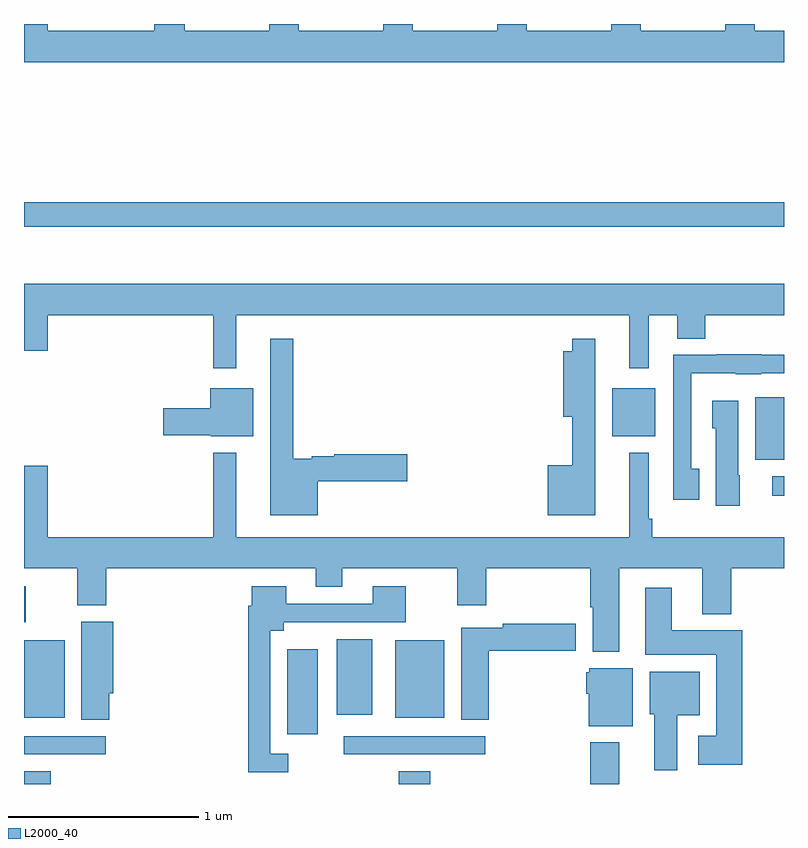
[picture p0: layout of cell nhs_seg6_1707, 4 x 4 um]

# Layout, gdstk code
import gdstk
lib = gdstk.Library(unit=1e-6, precision=1e-09)
def R(c, l, rs):  # rectangles x0, y0, x1, y1
    for r in rs: c.add(gdstk.rectangle(r[:2], r[2:], *l))
def P(c, l, *ps):  # polygons
    for p in ps: c.add(gdstk.Polygon(p, *l))
L2000_40 = (2000, 40)

nhs_seg6_1707 = lib.new_cell('nhs_seg6_1707')
R(nhs_seg6_1707, L2000_40, [(213,979.5,213.14,979.567), (214.973,979.5,215.138,979.567), (215.981,979.5,216.133,979.72), (213,979.656,213.43,979.752), (214.683,979.656,215.428,979.752), (214.385,979.761,214.546,980.209), (213,979.85,213.214,980.257), (214.955,979.85,215.212,980.257), (214.646,979.865,214.834,980.263), (213,980.352,213.01,980.542), (216.939,981.018,217,981.12), (216.848,981.207,217,981.535), (216.095,981.329,216.322,981.583), (213,982.434,217,982.562)])
P(nhs_seg6_1707, L2000_40, [(217,983.464),(216.846,983.464),(216.846,983.5),(216.691,983.5),(216.691,983.464),(216.246,983.464),(216.246,983.5),(216.091,983.5),(216.091,983.464),(215.646,983.464),(215.646,983.5),(215.491,983.5),(215.491,983.464),(215.046,983.464),(215.046,983.5),(214.891,983.5),(214.891,983.464),(214.446,983.464),(214.446,983.5),(214.291,983.5),(214.291,983.464),(213.846,983.464),(213.846,983.5),(213.686,983.5),(213.686,983.464),(213.124,983.464),(213.124,983.5),(213,983.5),(213,983.3),(217,983.3)],
  [(214.117,981.968),(216.185,981.968),(216.185,981.687),(216.289,981.687),(216.289,981.968),(216.437,981.968),(216.437,981.844),(216.585,981.844),(216.585,981.968),(217,981.968),(217,982.132),(213,982.132),(213,981.78),(213.124,981.78),(213.124,981.968),(213.996,981.968),(213.996,981.687),(214.117,981.687)],
  [(214.546,981.094),(215.017,981.094),(215.017,981.236),(214.632,981.236),(214.632,981.224),(214.514,981.224),(214.514,981.211),(214.417,981.211),(214.417,981.844),(214.295,981.844),(214.295,980.915),(214.546,980.915)],
  [(216.007,981.844),(215.886,981.844),(215.886,981.778),(215.837,981.778),(215.837,981.434),(215.886,981.434),(215.886,981.178),(215.756,981.178),(215.756,980.915),(216.007,980.915)],
  [(216.553,981.158),(216.513,981.158),(216.513,981.662),(216.747,981.662),(216.747,981.656),(216.879,981.656),(216.879,981.663),(217,981.663),(217,981.759),(216.879,981.759),(216.879,981.761),(216.647,981.761),(216.647,981.759),(216.417,981.759),(216.417,980.997),(216.553,980.997)],
  [(214.207,981.583),(213.98,981.583),(213.98,981.477),(213.732,981.477),(213.732,981.335),(213.984,981.335),(213.984,981.329),(214.207,981.329)],
  [(216.766,981.126),(216.76,981.126),(216.76,981.517),(216.623,981.517),(216.623,981.372),(216.641,981.372),(216.641,980.964),(216.766,980.964)],
  [(216.133,980.636),(216.569,980.636),(216.569,980.393),(216.722,980.393),(216.722,980.636),(217,980.636),(217,980.8),(216.307,980.8),(216.307,980.896),(216.289,980.896),(216.289,981.244),(216.185,981.244),(216.185,980.8),(214.117,980.8),(214.117,981.244),(213.996,981.244),(213.996,980.8),(213.124,980.8),(213.124,981.175),(213,981.175),(213,980.636),(213.281,980.636),(213.281,980.442),(213.434,980.442),(213.434,980.636),(214.535,980.636),(214.535,980.537),(214.675,980.537),(214.675,980.636),(215.279,980.636),(215.279,980.442),(215.432,980.442),(215.432,980.636),(215.981,980.636),(215.981,980.431),(215.993,980.431),(215.993,980.195),(216.133,980.195)],
  [(214.39,979.659),(214.296,979.659),(214.296,980.306),(214.366,980.306),(214.366,980.352),(215.008,980.352),(215.008,980.542),(214.835,980.542),(214.835,980.448),(214.381,980.448),(214.381,980.542),(214.199,980.542),(214.199,980.438),(214.18,980.438),(214.18,979.563),(214.39,979.563)],
  [(216.779,980.308),(216.409,980.308),(216.409,980.533),(216.269,980.533),(216.269,980.18),(216.644,980.18),(216.644,979.753),(216.549,979.753),(216.549,979.601),(216.779,979.601)],
  [(213.449,979.977),(213.47,979.977),(213.47,980.353),(213.302,980.353),(213.302,979.837),(213.449,979.837)],
  [(215.447,980.201),(215.905,980.201),(215.905,980.343),(215.52,980.343),(215.52,980.323),(215.3,980.323),(215.3,979.837),(215.447,979.837)],
  [(216.205,980.11),(215.976,980.11),(215.976,980.088),(215.96,980.088),(215.96,979.974),(215.972,979.974),(215.972,979.805),(216.205,979.805)],
  [(216.439,979.862),(216.556,979.862),(216.556,980.092),(216.293,980.092),(216.293,979.866),(216.317,979.866),(216.317,979.572),(216.439,979.572)])

lib.write_gds('nhs_seg6_1707.gds')
